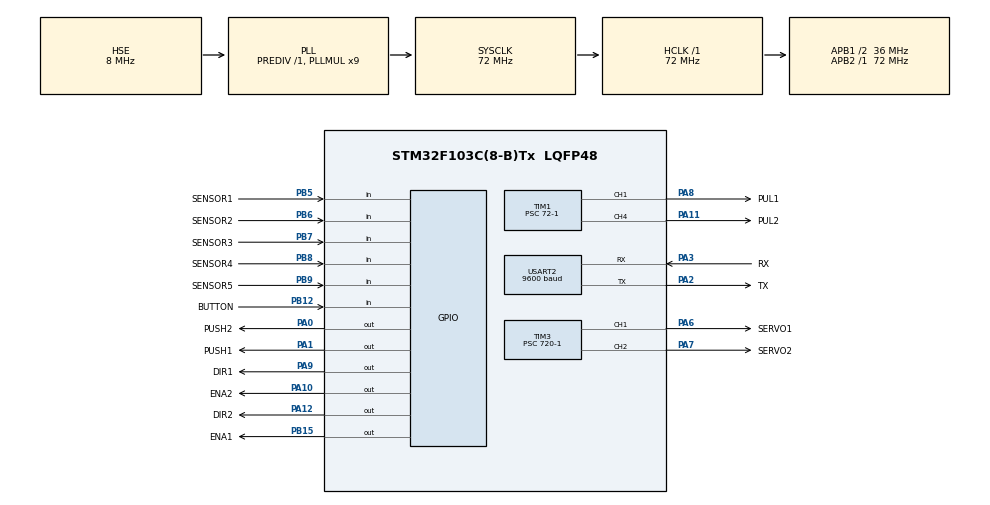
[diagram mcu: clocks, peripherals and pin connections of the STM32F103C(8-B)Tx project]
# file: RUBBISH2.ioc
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Dma.Request0=USART2_RX
Dma.Request1=USART2_TX
Dma.USART2_RX.0.Direction=DMA_PERIPH_TO_MEMORY
Dma.USART2_RX.0.Instance=DMA1_Channel6
Dma.USART2_RX.0.MemDataAlignment=DMA_MDATAALIGN_BYTE
Dma.USART2_RX.0.MemInc=DMA_MINC_ENABLE
Dma.USART2_RX.0.Mode=DMA_NORMAL
Dma.USART2_RX.0.PeriphDataAlignment=DMA_PDATAALIGN_BYTE
Dma.USART2_RX.0.PeriphInc=DMA_PINC_DISABLE
Dma.USART2_RX.0.Priority=DMA_PRIORITY_LOW
Dma.USART2_TX.1.Direction=DMA_MEMORY_TO_PERIPH
Dma.USART2_TX.1.Instance=DMA1_Channel7
Dma.USART2_TX.1.MemDataAlignment=DMA_MDATAALIGN_BYTE
Dma.USART2_TX.1.MemInc=DMA_MINC_ENABLE
Dma.USART2_TX.1.Mode=DMA_NORMAL
Dma.USART2_TX.1.PeriphDataAlignment=DMA_PDATAALIGN_BYTE
Dma.USART2_TX.1.PeriphInc=DMA_PINC_DISABLE
Dma.USART2_TX.1.Priority=DMA_PRIORITY_LOW
Mcu.Family=STM32F1
Mcu.Name=STM32F103C(8-B)Tx
Mcu.Package=LQFP48
NVIC.DMA1_Channel6_IRQn=true\:0\:0\:false\:false\:true\:false\:true\:true
NVIC.DMA1_Channel7_IRQn=true\:0\:0\:false\:false\:true\:false\:true\:true
NVIC.PriorityGroup=NVIC_PRIORITYGROUP_4
NVIC.TIM2_IRQn=true\:1\:0\:true\:false\:true\:true\:true\:true
NVIC.USART2_IRQn=true\:2\:0\:true\:false\:true\:true\:true\:true
PA0-WKUP.GPIO_Label=PUSH2
PA0-WKUP.Signal=GPIO_Output
PA1.GPIO_Label=PUSH1
PA1.Signal=GPIO_Output
PA10.GPIO_Label=ENA2
PA10.Signal=GPIO_Output
PA11.GPIO_Label=PUL2
PA11.Signal=S_TIM1_CH4
PA12.GPIO_Label=DIR2
PA12.Signal=GPIO_Output
PA13.Mode=Serial_Wire
PA13.Signal=SYS_JTMS-SWDIO
PA14.Mode=Serial_Wire
PA14.Signal=SYS_JTCK-SWCLK
PA2.GPIO_Label=TX
PA2.Mode=Asynchronous
PA2.Signal=USART2_TX
PA3.GPIO_Label=RX
PA3.Mode=Asynchronous
PA3.Signal=USART2_RX
PA6.GPIO_Label=SERVO1
PA6.Signal=S_TIM3_CH1
PA7.GPIO_Label=SERVO2
PA7.Signal=S_TIM3_CH2
PA8.GPIO_Label=PUL1
PA8.Signal=S_TIM1_CH1
PA9.GPIO_Label=DIR1
PA9.Signal=GPIO_Output
PB12.GPIO_Label=BUTTON
PB12.GPIO_PuPd=GPIO_PULLUP
PB12.Signal=GPIO_Input
PB15.GPIO_Label=ENA1
PB15.Signal=GPIO_Output
PB5.GPIO_Label=SENSOR1
PB5.GPIO_PuPd=GPIO_NOPULL
PB5.Signal=GPIO_Input
PB6.GPIO_Label=SENSOR2
PB6.GPIO_PuPd=GPIO_NOPULL
PB6.Signal=GPIO_Input
PB7.GPIO_Label=SENSOR3
PB7.GPIO_PuPd=GPIO_NOPULL
PB7.Signal=GPIO_Input
PB8.GPIO_Label=SENSOR4
PB8.GPIO_PuPd=GPIO_NOPULL
PB8.Signal=GPIO_Input
PB9.GPIO_Label=SENSOR5
PB9.GPIO_PuPd=GPIO_NOPULL
PB9.Signal=GPIO_Input
PC14-OSC32_IN.Mode=LSE-External-Oscillator
PC14-OSC32_IN.Signal=RCC_OSC32_IN
PC15-OSC32_OUT.Mode=LSE-External-Oscillator
PC15-OSC32_OUT.Signal=RCC_OSC32_OUT
PD0-OSC_IN.Mode=HSE-External-Oscillator
PD0-OSC_IN.Signal=RCC_OSC_IN
PD1-OSC_OUT.Mode=HSE-External-Oscillator
PD1-OSC_OUT.Signal=RCC_OSC_OUT
ProjectManager.HeapSize=0x200
ProjectManager.StackSize=0x400
ProjectManager.TargetToolchain=MDK-ARM V5.32
RCC.AHBFreq_Value=72000000
RCC.APB1CLKDivider=RCC_HCLK_DIV2
RCC.APB1Freq_Value=36000000
RCC.APB1TimFreq_Value=72000000
RCC.APB2Freq_Value=72000000
RCC.APB2TimFreq_Value=72000000
RCC.HCLKFreq_Value=72000000
RCC.PLLMUL=RCC_PLL_MUL9
RCC.PLLSourceVirtual=RCC_PLLSOURCE_HSE
RCC.SYSCLKFreq_VALUE=72000000
RCC.SYSCLKSource=RCC_SYSCLKSOURCE_PLLCLK
RCC.USBFreq_Value=72000000
SH.S_TIM1_CH1.0=TIM1_CH1,PWM Generation1 CH1
SH.S_TIM1_CH4.0=TIM1_CH4,PWM Generation4 CH4
SH.S_TIM3_CH1.0=TIM3_CH1,PWM Generation1 CH1
SH.S_TIM3_CH2.0=TIM3_CH2,PWM Generation2 CH2
TIM1.Channel-PWM\ Generation1\ CH1=TIM_CHANNEL_1
TIM1.Channel-PWM\ Generation4\ CH4=TIM_CHANNEL_4
TIM1.Period=1000-1
TIM1.Prescaler=72-1
TIM1.Pulse-PWM\ Generation1\ CH1=500
TIM1.Pulse-PWM\ Generation4\ CH4=500
TIM2.AutoReloadPreload=TIM_AUTORELOAD_PRELOAD_ENABLE
TIM2.Period=1000-1
TIM2.Prescaler=72-1
TIM3.AutoReloadPreload=TIM_AUTORELOAD_PRELOAD_ENABLE
TIM3.Channel-PWM\ Generation1\ CH1=TIM_CHANNEL_1
TIM3.Channel-PWM\ Generation2\ CH2=TIM_CHANNEL_2
TIM3.Period=2000-1
TIM3.Prescaler=720-1
USART2.BaudRate=9600
USART2.VirtualMode=VM_ASYNC
VP_TIM2_VS_ClockSourceINT.Mode=Internal
board=custom

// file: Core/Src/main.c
/* USER CODE BEGIN Header */
/**
  ******************************************************************************
  * @file           : main.c
  * @brief          : Main program body
  ******************************************************************************
  * @attention
  *
  * Copyright (c) 2024 STMicroelectronics.
  * All rights reserved.
  *
  * This software is licensed under terms that can be found in the LICENSE file
  * in the root directory of this software component.
  * If no LICENSE file comes with this software, it is provided AS-IS.
  *
  ******************************************************************************
  */
/* USER CODE END Header */
#include "main.h"
#include "dma.h"
#include "tim.h"
#include "usart.h"
#include "gpio.h"

/* USER CODE BEGIN Includes */
#include "string.h"
#include "bsp_uart.h"
#include "task.h"
#include "bsp_sensor.h"
#include "bsp_key.h"
#include "bsp_motor.h"
/* USER CODE END Includes */

/* USER CODE BEGIN PV */
//	uint16_t timeg = 0;
/* USER CODE END PV */

void SystemClock_Config(void);

int main(void)
{

  /* MCU Configuration--------------------------------------------------------*/

  /* Reset of all peripherals, Initializes the Flash interface and the Systick. */
  HAL_Init();

  /* Configure the system clock */
  SystemClock_Config();

  /* Initialize all configured peripherals */
  MX_GPIO_Init();
  MX_DMA_Init();
  MX_TIM1_Init();
  MX_TIM2_Init();
  MX_TIM3_Init();
  MX_USART2_UART_Init();
  /* USER CODE BEGIN 2 */
	HAL_TIM_Base_Start_IT(&htim2);//启动定时器中断
	HAL_TIM_PWM_Start(&htim3,TIM_CHANNEL_1);//开启舵机1PWM
	HAL_TIM_PWM_Start(&htim3,TIM_CHANNEL_2);//开启舵机2PWM
	rubbish_init();//垃圾桶程序初始化
  /* USER CODE END 2 */

  /* Infinite loop */
  /* USER CODE BEGIN WHILE */
  while (1)
  {
//	timeg++;
	if(recv_end_flag == 1 && rx_len == DATA_REAL_LENGTH)  //接收完成标志
	{
		Data_Resolve(&Uart_Flag);
		rx_len = 0;//清除计数
		recv_end_flag = 0;//清除接收结束标志位
//			for(uint8_t i=0;i<rx_len;i++)
//				{
//					rx_buffer[i]=0;//清接收缓存
//				}
			memset(rx_buffer,0,rx_len);
	}
	HAL_UART_Receive_DMA(&huart2,rx_buffer,BUFFER_SIZE);//重新打开DMA接收
//	if(Uart_Flag.flag == 0)
//	{
//		HAL_Delay(1000);
//	Stepper2(0);
//	HAL_Delay(1000);
//	Stepper2(1);
//	}
//		Sensor_Scan();

    /* USER CODE END WHILE */

  }
}

void SystemClock_Config(void)
{
  RCC_OscInitTypeDef RCC_OscInitStruct = {0};
  RCC_ClkInitTypeDef RCC_ClkInitStruct = {0};

  /** Initializes the RCC Oscillators according to the specified parameters
  * in the RCC_OscInitTypeDef structure.
  */
  RCC_OscInitStruct.OscillatorType = RCC_OSCILLATORTYPE_HSE;
  RCC_OscInitStruct.HSEState = RCC_HSE_ON;
  RCC_OscInitStruct.HSEPredivValue = RCC_HSE_PREDIV_DIV1;
  RCC_OscInitStruct.HSIState = RCC_HSI_ON;
  RCC_OscInitStruct.PLL.PLLState = RCC_PLL_ON;
  RCC_OscInitStruct.PLL.PLLSource = RCC_PLLSOURCE_HSE;
  RCC_OscInitStruct.PLL.PLLMUL = RCC_PLL_MUL9;
  if (HAL_RCC_OscConfig(&RCC_OscInitStruct) != HAL_OK)
  {
    Error_Handler();
  }

  /** Initializes the CPU, AHB and APB buses clocks
  */
  RCC_ClkInitStruct.ClockType = RCC_CLOCKTYPE_HCLK|RCC_CLOCKTYPE_SYSCLK
                              |RCC_CLOCKTYPE_PCLK1|RCC_CLOCKTYPE_PCLK2;
  RCC_ClkInitStruct.SYSCLKSource = RCC_SYSCLKSOURCE_PLLCLK;
  RCC_ClkInitStruct.AHBCLKDivider = RCC_SYSCLK_DIV1;
  RCC_ClkInitStruct.APB1CLKDivider = RCC_HCLK_DIV2;
  RCC_ClkInitStruct.APB2CLKDivider = RCC_HCLK_DIV1;

  if (HAL_RCC_ClockConfig(&RCC_ClkInitStruct, FLASH_LATENCY_2) != HAL_OK)
  {
    Error_Handler();
  }
}

void Error_Handler(void)
{
  __disable_irq();
  while (1)
  {
  }
}
